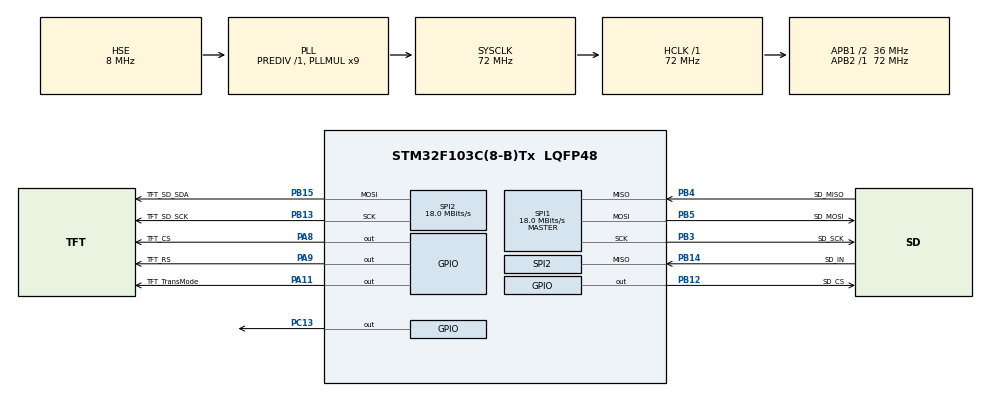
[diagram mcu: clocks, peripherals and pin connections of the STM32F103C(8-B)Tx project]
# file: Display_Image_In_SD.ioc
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Dma.Request0=SPI1_RX
Dma.Request1=SPI1_TX
Dma.Request2=SPI2_RX
Dma.Request3=SPI2_TX
Dma.SPI1_RX.0.Direction=DMA_PERIPH_TO_MEMORY
Dma.SPI1_RX.0.Instance=DMA1_Channel2
Dma.SPI1_RX.0.MemDataAlignment=DMA_MDATAALIGN_BYTE
Dma.SPI1_RX.0.MemInc=DMA_MINC_ENABLE
Dma.SPI1_RX.0.Mode=DMA_NORMAL
Dma.SPI1_RX.0.PeriphDataAlignment=DMA_PDATAALIGN_BYTE
Dma.SPI1_RX.0.PeriphInc=DMA_PINC_DISABLE
Dma.SPI1_RX.0.Priority=DMA_PRIORITY_LOW
Dma.SPI1_TX.1.Direction=DMA_MEMORY_TO_PERIPH
Dma.SPI1_TX.1.Instance=DMA1_Channel3
Dma.SPI1_TX.1.MemDataAlignment=DMA_MDATAALIGN_BYTE
Dma.SPI1_TX.1.MemInc=DMA_MINC_ENABLE
Dma.SPI1_TX.1.Mode=DMA_NORMAL
Dma.SPI1_TX.1.PeriphDataAlignment=DMA_PDATAALIGN_BYTE
Dma.SPI1_TX.1.PeriphInc=DMA_PINC_DISABLE
Dma.SPI1_TX.1.Priority=DMA_PRIORITY_LOW
Dma.SPI2_RX.2.Direction=DMA_PERIPH_TO_MEMORY
Dma.SPI2_RX.2.Instance=DMA1_Channel4
Dma.SPI2_RX.2.MemDataAlignment=DMA_MDATAALIGN_BYTE
Dma.SPI2_RX.2.MemInc=DMA_MINC_ENABLE
Dma.SPI2_RX.2.Mode=DMA_NORMAL
Dma.SPI2_RX.2.PeriphDataAlignment=DMA_PDATAALIGN_BYTE
Dma.SPI2_RX.2.PeriphInc=DMA_PINC_DISABLE
Dma.SPI2_RX.2.Priority=DMA_PRIORITY_LOW
Dma.SPI2_TX.3.Direction=DMA_MEMORY_TO_PERIPH
Dma.SPI2_TX.3.Instance=DMA1_Channel5
Dma.SPI2_TX.3.MemDataAlignment=DMA_MDATAALIGN_BYTE
Dma.SPI2_TX.3.MemInc=DMA_MINC_ENABLE
Dma.SPI2_TX.3.Mode=DMA_NORMAL
Dma.SPI2_TX.3.PeriphDataAlignment=DMA_PDATAALIGN_BYTE
Dma.SPI2_TX.3.PeriphInc=DMA_PINC_DISABLE
Dma.SPI2_TX.3.Priority=DMA_PRIORITY_LOW
FATFS._MAX_SS=4096
FATFS._USE_LABEL=1
FATFS._USE_LFN=3
IWDG.Prescaler=IWDG_PRESCALER_64
Mcu.Family=STM32F1
Mcu.Name=STM32F103C(8-B)Tx
Mcu.Package=LQFP48
NVIC.DMA1_Channel2_IRQn=true\:0\:0\:false\:false\:true\:false\:true\:true
NVIC.DMA1_Channel3_IRQn=true\:0\:0\:false\:false\:true\:false\:true\:true
NVIC.DMA1_Channel4_IRQn=true\:0\:0\:false\:false\:true\:false\:true\:true
NVIC.DMA1_Channel5_IRQn=true\:0\:0\:false\:false\:true\:false\:true\:true
NVIC.PriorityGroup=NVIC_PRIORITYGROUP_4
PA11.GPIO_Label=TFT_TransMode
PA11.Signal=GPIO_Output
PA13.Mode=Serial_Wire
PA13.Signal=SYS_JTMS-SWDIO
PA14.Mode=Serial_Wire
PA14.Signal=SYS_JTCK-SWCLK
PA8.GPIO_Label=TFT_CS
PA8.Signal=GPIO_Output
PA9.GPIO_Label=TFT_RS
PA9.Signal=GPIO_Output
PB12.GPIO_Label=SD_CS
PB12.PinState=GPIO_PIN_SET
PB12.Signal=GPIO_Output
PB13.GPIO_Label=TFT_SD_SCK
PB13.Mode=Full_Duplex_Master
PB13.Signal=SPI2_SCK
PB14.GPIO_Label=SD_IN
PB14.Mode=Full_Duplex_Master
PB14.Signal=SPI2_MISO
PB15.GPIO_Label=TFT_SD_SDA
PB15.Mode=Full_Duplex_Master
PB15.Signal=SPI2_MOSI
PB3.GPIO_Label=SD_SCK
PB3.Mode=Full_Duplex_Master
PB3.Signal=SPI1_SCK
PB4.GPIO_Label=SD_MISO
PB4.Mode=Full_Duplex_Master
PB4.Signal=SPI1_MISO
PB5.GPIO_Label=SD_MOSI
PB5.Mode=Full_Duplex_Master
PB5.Signal=SPI1_MOSI
PC13-TAMPER-RTC.Signal=GPIO_Output
PD0-OSC_IN.Mode=HSE-External-Oscillator
PD0-OSC_IN.Signal=RCC_OSC_IN
PD1-OSC_OUT.Mode=HSE-External-Oscillator
PD1-OSC_OUT.Signal=RCC_OSC_OUT
ProjectManager.HeapSize=0x200
ProjectManager.StackSize=0x400
ProjectManager.TargetToolchain=CMake
RCC.AHBFreq_Value=72000000
RCC.APB1CLKDivider=RCC_HCLK_DIV2
RCC.APB1Freq_Value=36000000
RCC.APB1TimFreq_Value=72000000
RCC.APB2Freq_Value=72000000
RCC.APB2TimFreq_Value=72000000
RCC.HCLKFreq_Value=72000000
RCC.PLLMUL=RCC_PLL_MUL9
RCC.PLLSourceVirtual=RCC_PLLSOURCE_HSE
RCC.SYSCLKFreq_VALUE=72000000
RCC.SYSCLKSource=RCC_SYSCLKSOURCE_PLLCLK
RCC.USBFreq_Value=72000000
SPI1.BaudRatePrescaler=SPI_BAUDRATEPRESCALER_4
SPI1.CalculateBaudRate=18.0 MBits/s
SPI1.Direction=SPI_DIRECTION_2LINES
SPI1.Mode=SPI_MODE_MASTER
SPI1.VirtualType=VM_MASTER
SPI2.CalculateBaudRate=18.0 MBits/s
SPI2.Direction=SPI_DIRECTION_2LINES
SPI2.Mode=SPI_MODE_MASTER
SPI2.VirtualType=VM_MASTER
VP_FATFS_VS_Generic.Mode=User_defined
VP_IWDG_VS_IWDG.Mode=IWDG_Activate
board=custom

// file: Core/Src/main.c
/* USER CODE BEGIN Header */
/**
  ******************************************************************************
  * @file           : main.c
  * @brief          : Main program body
  ******************************************************************************
  * @attention
  *
  * Copyright (c) 2025 STMicroelectronics.
  * All rights reserved.
  *
  * This software is licensed under terms that can be found in the LICENSE file
  * in the root directory of this software component.
  * If no LICENSE file comes with this software, it is provided AS-IS.
  *
  ******************************************************************************
  */
/* USER CODE END Header */
#include "main.h"
#include "fatfs.h"

/* USER CODE BEGIN Includes */
#include "sd_functions.h"
#include "string.h"
/* USER CODE END Includes */

/* USER CODE BEGIN PTD */
typedef struct obj_status
{
  uint8_t pos_x;
  uint8_t pos_y;
  uint8_t width;
  uint8_t height;
} obj_status;
typedef struct bmp_info
{
  uint32_t bmp_size;
  uint32_t width;
  uint32_t height;
  uint32_t bpp;
} bmp_info;
/* USER CODE END PTD */

/* USER CODE BEGIN PD */
#define IWDGG 1
#define display_w 160
#define display_h 128
#define w_numchunk_in_frame 8
#define byte_per_pix 2

#define line_per_chunk display_h/w_numchunk_in_frame
#define total_pix_per_chunk  line_per_chunk * display_w

/* USER CODE END PD */

IWDG_HandleTypeDef hiwdg;

SPI_HandleTypeDef hspi1;
SPI_HandleTypeDef hspi2;
DMA_HandleTypeDef hdma_spi1_rx;
DMA_HandleTypeDef hdma_spi1_tx;
DMA_HandleTypeDef hdma_spi2_rx;
DMA_HandleTypeDef hdma_spi2_tx;

/* USER CODE BEGIN PV */
volatile int dma_tx_done_spi2 = 1;
volatile int dma_rx_done_spi2 = 0;

UINT br;
bmp_info header_info;

uint32_t cnt = 0;
uint8_t FPS = 0;
uint32_t my_time_TFT = 0;
uint32_t my_time_SD = 0;
uint16_t Frame_bufferA[total_pix_per_chunk];
uint16_t Frame_bufferB[total_pix_per_chunk];

/* USER CODE END PV */

void SystemClock_Config(void);
static void MX_GPIO_Init(void);
static void MX_DMA_Init(void);
static void MX_IWDG_Init(void);
static void MX_SPI1_Init(void);
static void MX_SPI2_Init(void);
/* USER CODE BEGIN PFP */
void ST7735_SendCommand(uint8_t cmd)
{
  HAL_GPIO_WritePin(TFT_TransMode_GPIO_Port, TFT_TransMode_Pin, GPIO_PIN_RESET); // Command mode
  HAL_GPIO_WritePin(TFT_CS_GPIO_Port, TFT_CS_Pin, GPIO_PIN_RESET);
  HAL_SPI_Transmit(&hspi2, &cmd, 1,HAL_MAX_DELAY);

  HAL_GPIO_WritePin(TFT_CS_GPIO_Port, TFT_CS_Pin, GPIO_PIN_SET);
}

void ST7735_SendData(uint8_t *data, uint16_t size)
{
  HAL_GPIO_WritePin(TFT_TransMode_GPIO_Port, TFT_TransMode_Pin, GPIO_PIN_SET); // Data mode
  HAL_GPIO_WritePin(TFT_CS_GPIO_Port, TFT_CS_Pin, GPIO_PIN_RESET);
  HAL_SPI_Transmit(&hspi2, data, size,HAL_MAX_DELAY);
  HAL_GPIO_WritePin(TFT_CS_GPIO_Port, TFT_CS_Pin, GPIO_PIN_SET);
}

void ST7735_Reset(void)
{
  HAL_GPIO_WritePin(TFT_RS_GPIO_Port, TFT_RS_Pin, GPIO_PIN_RESET);
  HAL_Delay(10);
  HAL_GPIO_WritePin(TFT_RS_GPIO_Port, TFT_RS_Pin, GPIO_PIN_SET);
  HAL_Delay(10);
}

void ST7735_Init(uint8_t Is160x128)
{
  ST7735_Reset();

  ST7735_SendCommand(0x01); // Software reset
  HAL_Delay(150);

  ST7735_SendCommand(0x11); // Sleep out
  HAL_Delay(150);

  ST7735_SendCommand(0x3A); // Interface Pixel Format
  uint8_t data = 0x05;      // 16-bit color
  ST7735_SendData(&data, 1);
  if (Is160x128 == 1)
  {
    ST7735_SendCommand(0x36);
    uint8_t ctl = 0x60;
    ST7735_SendData(&ctl, 1);
  }
  ST7735_SendCommand(0x29); // Display ON
  HAL_Delay(10);
}

// Fill entire screen by 1 color
void ST7735_FillScreen(uint16_t color,uint8_t end_x,uint8_t end_y )
{
  uint8_t data[2] = {color >> 8,color & 0xFF };
  ST7735_SendCommand(0x2A);                // Column addr set
  uint8_t col[] = {0x00, 0x00, 0x00, end_x}; // x0 to x127
  ST7735_SendData(col, 4);

  ST7735_SendCommand(0x2B);                // Row addr set
  uint8_t row[] = {0x00, 0x00 , 0x00, end_y}; // y0 to y159
  ST7735_SendData(row, 4);

  ST7735_SendCommand(0x2C); // Memory write

  HAL_GPIO_WritePin(TFT_TransMode_GPIO_Port, TFT_TransMode_Pin, GPIO_PIN_SET);
  HAL_GPIO_WritePin(TFT_CS_GPIO_Port, TFT_CS_Pin, GPIO_PIN_RESET);
  for (int i = 0; i < 128 * 160; i++)
  {
    HAL_SPI_Transmit(&hspi2, data, 2,HAL_MAX_DELAY);
  }
  HAL_GPIO_WritePin(TFT_CS_GPIO_Port, TFT_CS_Pin, GPIO_PIN_SET);
}

void ST7735_Drawing(obj_status obj)
{
  uint8_t data[2];
  uint16_t tmp_buf[128];
  ST7735_SendCommand(0x2A);                // Column addr set
  uint8_t col[] = {0x00, 0x0, 0x00, obj.pos_x+obj.width-1}; // x0 to x127
  ST7735_SendData(col, 4);

  ST7735_SendCommand(0x2B);                // Row addr set
  uint8_t row[] = {0x00, obj.pos_y , 0x00, obj.pos_y+obj.height-1 }; // y0 to y159
  ST7735_SendData(row, 4);

  ST7735_SendCommand(0x2C); // Memory write

  HAL_GPIO_WritePin(TFT_TransMode_GPIO_Port, TFT_TransMode_Pin, GPIO_PIN_SET);
  HAL_GPIO_WritePin(TFT_CS_GPIO_Port, TFT_CS_Pin, GPIO_PIN_RESET);
  //dma_tx_done_spi2 = 0;
  // for (int i = 0; i < 2048; i+=4) {
  //     Frame_buffer[i]   = (Frame_buffer[i] >> 8) | (Frame_buffer[i] << 8);
  //     Frame_buffer[i+1] = (Frame_buffer[i+1] >> 8) | (Frame_buffer[i+1] << 8);
  //     Frame_buffer[i+2] = (Frame_buffer[i+2] >> 8) | (Frame_buffer[i+2] << 8);
  //     Frame_buffer[i+3] = (Frame_buffer[i+3] >> 8) | (Frame_buffer[i+3] << 8);
  // }
    // HAL_SPI_Transmit_DMA(&hspi2, Frame_buffer, 2048 * 2);
    // while (!dma_tx_done_spi2)
    //   ;
  HAL_GPIO_WritePin(TFT_CS_GPIO_Port, TFT_CS_Pin, GPIO_PIN_SET);
}

void ST7735_video_display(obj_status obj, uint16_t *buf)
{
  // Disable SD_Card_CS
  // HAL_GPIO_WritePin(SD_CS_GPIO_Port, SD_CS_Pin, GPIO_PIN_SET);
  ST7735_SendCommand(0x2A);                // Column addr set
  uint8_t col[] = {0x00, obj.pos_x, 0x00, obj.pos_x + obj.width-1}; // x0 to x127
  ST7735_SendData(col, 4);

  ST7735_SendCommand(0x2B);
  uint8_t row[] = {0x00, obj.pos_y , 0x00, obj.pos_y+obj.height-1 }; // y0 to y159
  ST7735_SendData(row, 4);

  ST7735_SendCommand(0x36);
  uint8_t ctl = 0x60;
  ST7735_SendData(&ctl, 1);

  ST7735_SendCommand(0x2C); // Memory write
  HAL_GPIO_WritePin(TFT_TransMode_GPIO_Port, TFT_TransMode_Pin, GPIO_PIN_SET);
  HAL_GPIO_WritePin(TFT_CS_GPIO_Port, TFT_CS_Pin, GPIO_PIN_RESET);

  dma_tx_done_spi2 = 0;
  HAL_SPI_Transmit_DMA(&hspi2, buf, total_pix_per_chunk * byte_per_pix);
  // while (!dma_tx_done_spi2)
  //   ;
  // HAL_GPIO_WritePin(TFT_CS_GPIO_Port, TFT_CS_Pin, GPIO_PIN_SET);
}

  void processing(FIL * f, uint16_t *FrameA, uint16_t *FrameB, uint16_t byte_r, uint32_t *frame_num)
  {
    uint32_t base_offset = *frame_num * w_numchunk_in_frame * byte_r;
    uint32_t offset = base_offset;
    obj_status object2 = {0,0,display_w, line_per_chunk};
    int i = 0;
    while (1)
    {
      while (1)
      {
        f_lseek(f, offset);
        if (f_read(f, FrameA, byte_r - 1, &br) == FR_OK)
        {
#if IWDGG
          HAL_IWDG_Refresh(&hiwdg);
#endif
          break;
        }
      }
      while (!dma_tx_done_spi2)
        ;
      ST7735_video_display(object2, FrameA);

      object2.pos_y += line_per_chunk;
      i++;
      offset = base_offset + i * byte_r;
      f_lseek(f, offset);
      while (1)
      {
        if (f_read(f, FrameB, byte_r - 1, &br) == FR_OK)
        {
#if IWDGG
          HAL_IWDG_Refresh(&hiwdg);
#endif
          break;
        }
      }
      while (!dma_tx_done_spi2)
        ;
      ST7735_video_display(object2, FrameB);
      object2.pos_y += line_per_chunk;
      i++;
      offset = base_offset + i * byte_r;
      if (!(i % w_numchunk_in_frame))
      {
        break;
      }
    }
    *frame_num += 1;
  }

void extract_BMP_Info(uint8_t *Frame_header_Buffer, bmp_info *bmp){
   memcpy(&bmp->bmp_size,Frame_header_Buffer + 2, 4);
   memcpy(&bmp->width,Frame_header_Buffer + 0x12, 4);
   memcpy(&bmp->height,Frame_header_Buffer + 0x16, 4);
   memcpy(&bmp->bpp,Frame_header_Buffer + 0x1c, 2);
}

uint8_t Check_FPS(uint32_t time){
  if( ( cnt + time) > HAL_GetTick()){
     return 0;
  }
  else{
    cnt = HAL_GetTick();
    return 1;
  }
}

/* USER CODE END PFP */

int main(void)
{

  /* USER CODE BEGIN 1 */
  FIL f;

  /* USER CODE END 1 */

  /* MCU Configuration--------------------------------------------------------*/

  /* Reset of all peripherals, Initializes the Flash interface and the Systick. */
  HAL_Init();

  /* Configure the system clock */
  SystemClock_Config();

  /* Initialize all configured peripherals */
  MX_GPIO_Init();
  MX_DMA_Init();
  MX_IWDG_Init();
  MX_SPI1_Init();
  MX_SPI2_Init();
  /* USER CODE BEGIN 2 */

  ST7735_Init(1);
  ST7735_FillScreen(0xf800,159,127);
  HAL_GPIO_WritePin(TFT_CS_GPIO_Port, TFT_CS_Pin, GPIO_PIN_SET);
  int i = 0;
  int frame_num = 0;
  while (1)
  {
    if (sd_mount() == FR_OK)
    {
#if IWDGG
      HAL_IWDG_Refresh(&hiwdg);
#endif
      break;
    }
  }

  while (1)
  {
    if (f_open(&f,"family_guy_ep1_rgb565_full_be_160x128.rgb",FA_READ) == FR_OK)
    {
#if IWDGG
      HAL_IWDG_Refresh(&hiwdg);
#endif
      break;
    }
  }
  /* USER CODE END 2 */

  /* Infinite loop */
  /* USER CODE BEGIN WHILE */
  while (1)
  {
    cnt = HAL_GetTick();
    processing(&f,Frame_bufferA,Frame_bufferB,total_pix_per_chunk*byte_per_pix,&frame_num);
    my_time_TFT = HAL_GetTick() - cnt;
    FPS = 1000 / my_time_TFT;
    /* USER CODE END WHILE */

  }
}

void SystemClock_Config(void)
{
  RCC_OscInitTypeDef RCC_OscInitStruct = {0};
  RCC_ClkInitTypeDef RCC_ClkInitStruct = {0};

  /** Initializes the RCC Oscillators according to the specified parameters
  * in the RCC_OscInitTypeDef structure.
  */
  RCC_OscInitStruct.OscillatorType = RCC_OSCILLATORTYPE_LSI|RCC_OSCILLATORTYPE_HSE;
  RCC_OscInitStruct.HSEState = RCC_HSE_ON;
  RCC_OscInitStruct.HSEPredivValue = RCC_HSE_PREDIV_DIV1;
  RCC_OscInitStruct.HSIState = RCC_HSI_ON;
  RCC_OscInitStruct.LSIState = RCC_LSI_ON;
  RCC_OscInitStruct.PLL.PLLState = RCC_PLL_ON;
  RCC_OscInitStruct.PLL.PLLSource = RCC_PLLSOURCE_HSE;
  RCC_OscInitStruct.PLL.PLLMUL = RCC_PLL_MUL9;
  if (HAL_RCC_OscConfig(&RCC_OscInitStruct) != HAL_OK)
  {
    Error_Handler();
  }

  /** Initializes the CPU, AHB and APB buses clocks
  */
  RCC_ClkInitStruct.ClockType = RCC_CLOCKTYPE_HCLK|RCC_CLOCKTYPE_SYSCLK
                              |RCC_CLOCKTYPE_PCLK1|RCC_CLOCKTYPE_PCLK2;
  RCC_ClkInitStruct.SYSCLKSource = RCC_SYSCLKSOURCE_PLLCLK;
  RCC_ClkInitStruct.AHBCLKDivider = RCC_SYSCLK_DIV1;
  RCC_ClkInitStruct.APB1CLKDivider = RCC_HCLK_DIV2;
  RCC_ClkInitStruct.APB2CLKDivider = RCC_HCLK_DIV1;

  if (HAL_RCC_ClockConfig(&RCC_ClkInitStruct, FLASH_LATENCY_2) != HAL_OK)
  {
    Error_Handler();
  }
}

static void MX_IWDG_Init(void)
{

  hiwdg.Instance = IWDG;
  hiwdg.Init.Prescaler = IWDG_PRESCALER_64;
  hiwdg.Init.Reload = 4095;
  if (HAL_IWDG_Init(&hiwdg) != HAL_OK)
  {
    Error_Handler();
  }

}

static void MX_SPI1_Init(void)
{

  /* SPI1 parameter configuration*/
  hspi1.Instance = SPI1;
  hspi1.Init.Mode = SPI_MODE_MASTER;
  hspi1.Init.Direction = SPI_DIRECTION_2LINES;
  hspi1.Init.DataSize = SPI_DATASIZE_8BIT;
  hspi1.Init.CLKPolarity = SPI_POLARITY_LOW;
  hspi1.Init.CLKPhase = SPI_PHASE_1EDGE;
  hspi1.Init.NSS = SPI_NSS_SOFT;
  hspi1.Init.BaudRatePrescaler = SPI_BAUDRATEPRESCALER_4;
  hspi1.Init.FirstBit = SPI_FIRSTBIT_MSB;
  hspi1.Init.TIMode = SPI_TIMODE_DISABLE;
  hspi1.Init.CRCCalculation = SPI_CRCCALCULATION_DISABLE;
  hspi1.Init.CRCPolynomial = 10;
  if (HAL_SPI_Init(&hspi1) != HAL_OK)
  {
    Error_Handler();
  }

}

static void MX_SPI2_Init(void)
{

  /* SPI2 parameter configuration*/
  hspi2.Instance = SPI2;
  hspi2.Init.Mode = SPI_MODE_MASTER;
  hspi2.Init.Direction = SPI_DIRECTION_2LINES;
  hspi2.Init.DataSize = SPI_DATASIZE_8BIT;
  hspi2.Init.CLKPolarity = SPI_POLARITY_LOW;
  hspi2.Init.CLKPhase = SPI_PHASE_1EDGE;
  hspi2.Init.NSS = SPI_NSS_SOFT;
  hspi2.Init.BaudRatePrescaler = SPI_BAUDRATEPRESCALER_2;
  hspi2.Init.FirstBit = SPI_FIRSTBIT_MSB;
  hspi2.Init.TIMode = SPI_TIMODE_DISABLE;
  hspi2.Init.CRCCalculation = SPI_CRCCALCULATION_DISABLE;
  hspi2.Init.CRCPolynomial = 10;
  if (HAL_SPI_Init(&hspi2) != HAL_OK)
  {
    Error_Handler();
  }

}

static void MX_DMA_Init(void)
{

  /* DMA controller clock enable */
  __HAL_RCC_DMA1_CLK_ENABLE();

  /* DMA interrupt init */
  /* DMA1_Channel2_IRQn interrupt configuration */
  HAL_NVIC_SetPriority(DMA1_Channel2_IRQn, 0, 0);
  HAL_NVIC_EnableIRQ(DMA1_Channel2_IRQn);
  /* DMA1_Channel3_IRQn interrupt configuration */
  HAL_NVIC_SetPriority(DMA1_Channel3_IRQn, 0, 0);
  HAL_NVIC_EnableIRQ(DMA1_Channel3_IRQn);
  /* DMA1_Channel4_IRQn interrupt configuration */
  HAL_NVIC_SetPriority(DMA1_Channel4_IRQn, 0, 0);
  HAL_NVIC_EnableIRQ(DMA1_Channel4_IRQn);
  /* DMA1_Channel5_IRQn interrupt configuration */
  HAL_NVIC_SetPriority(DMA1_Channel5_IRQn, 0, 0);
  HAL_NVIC_EnableIRQ(DMA1_Channel5_IRQn);

}

static void MX_GPIO_Init(void)
{
  GPIO_InitTypeDef GPIO_InitStruct = {0};

  /* GPIO Ports Clock Enable */
  __HAL_RCC_GPIOC_CLK_ENABLE();
  __HAL_RCC_GPIOD_CLK_ENABLE();
  __HAL_RCC_GPIOB_CLK_ENABLE();
  __HAL_RCC_GPIOA_CLK_ENABLE();

  /*Configure GPIO pin Output Level */
  HAL_GPIO_WritePin(GPIOC, GPIO_PIN_13, GPIO_PIN_RESET);

  /*Configure GPIO pin Output Level */
  HAL_GPIO_WritePin(SD_CS_GPIO_Port, SD_CS_Pin, GPIO_PIN_SET);

  /*Configure GPIO pin Output Level */
  HAL_GPIO_WritePin(GPIOA, TFT_CS_Pin|TFT_RS_Pin|TFT_TransMode_Pin, GPIO_PIN_RESET);

  /*Configure GPIO pin : PC13 */
  GPIO_InitStruct.Pin = GPIO_PIN_13;
  GPIO_InitStruct.Mode = GPIO_MODE_OUTPUT_PP;
  GPIO_InitStruct.Pull = GPIO_NOPULL;
  GPIO_InitStruct.Speed = GPIO_SPEED_FREQ_LOW;
  HAL_GPIO_Init(GPIOC, &GPIO_InitStruct);

  /*Configure GPIO pin : SD_CS_Pin */
  GPIO_InitStruct.Pin = SD_CS_Pin;
  GPIO_InitStruct.Mode = GPIO_MODE_OUTPUT_PP;
  GPIO_InitStruct.Pull = GPIO_NOPULL;
  GPIO_InitStruct.Speed = GPIO_SPEED_FREQ_LOW;
  HAL_GPIO_Init(SD_CS_GPIO_Port, &GPIO_InitStruct);

  /*Configure GPIO pins : TFT_CS_Pin TFT_RS_Pin TFT_TransMode_Pin */
  GPIO_InitStruct.Pin = TFT_CS_Pin|TFT_RS_Pin|TFT_TransMode_Pin;
  GPIO_InitStruct.Mode = GPIO_MODE_OUTPUT_PP;
  GPIO_InitStruct.Pull = GPIO_NOPULL;
  GPIO_InitStruct.Speed = GPIO_SPEED_FREQ_LOW;
  HAL_GPIO_Init(GPIOA, &GPIO_InitStruct);

}

void Error_Handler(void)
{
  __disable_irq();
  while (1)
  {
  }
}
